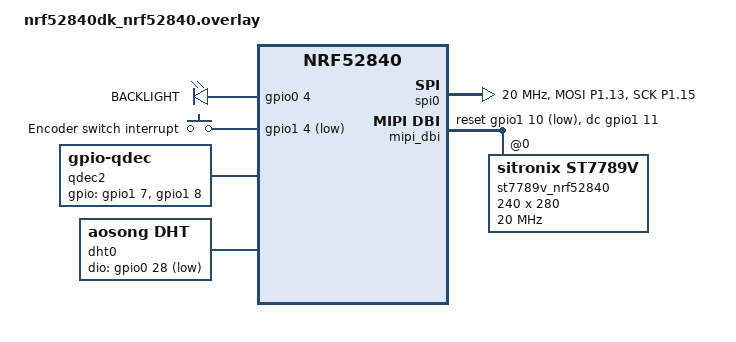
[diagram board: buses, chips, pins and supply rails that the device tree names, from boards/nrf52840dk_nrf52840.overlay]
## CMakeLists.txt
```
# SPDX-License-Identifier: Apache-2.0

cmake_minimum_required(VERSION 3.20.0)
find_package(Zephyr REQUIRED HINTS $ENV{ZEPHYR_BASE})
project(mad-mixo-guide)

# Add the 'lib' directory to include paths
target_include_directories(app PRIVATE ${CMAKE_CURRENT_SOURCE_DIR}/lib)

target_sources(app PRIVATE 
    src/main.c
    lib/chosen_drinks.c
    lib/temperature_sensor.c
    )
```

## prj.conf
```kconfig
CONFIG_GPIO=y

# LVGL settings
CONFIG_MAIN_STACK_SIZE=4096
CONFIG_LOG=y
# CONFIG_SHELL=y

CONFIG_LVGL=y
CONFIG_LV_Z_MEM_POOL_SIZE=49152
# CONFIG_LV_Z_SHELL=y
CONFIG_LV_USE_MONKEY=y

# LVGL fonts
CONFIG_LV_FONT_MONTSERRAT_24=y

# specific setting for st7789v2
CONFIG_LV_COLOR_16_SWAP=y

CONFIG_DISPLAY=y
# Encoder
CONFIG_INPUT=y
CONFIG_LV_Z_ENCODER_INPUT=y

# SPI
CONFIG_MIPI_DBI=y
CONFIG_MIPI_DBI_SPI=y
# sensor
CONFIG_SENSOR=y
```

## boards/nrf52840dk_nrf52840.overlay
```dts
#include <zephyr/dt-bindings/mipi_dbi/mipi_dbi.h>

&pinctrl {
    spi0_default_alt: spi0_default_alt {
        group1 {
            psels = <NRF_PSEL(SPIM_MOSI, 1, 13)>,
                    <NRF_PSEL(SPIM_SCK,  1, 15)>;
        };
    };

    spi0_sleep_alt: spi0_sleep_alt {
        group1 {
            psels = <NRF_PSEL(SPIM_MOSI, 1, 13)>,
                    <NRF_PSEL(SPIM_SCK,  1, 15)>;
            low-power-enable;
        };
    };

};

&spi0 {
    status = "okay";
    clock-frequency = <20000000>;
    cs-gpios = <&gpio1 12 GPIO_ACTIVE_LOW>;
    pinctrl-0 = <&spi0_default_alt>;
    pinctrl-1 = <&spi0_sleep_alt>;
    pinctrl-names = "default", "sleep";
};

&gpio1 {
    status = "okay";
};

&{/} {
    mipi_dbi {
        compatible = "zephyr,mipi-dbi-spi";
        reset-gpios = <&gpio1 10 GPIO_ACTIVE_LOW>;
        dc-gpios = <&gpio1 11 GPIO_ACTIVE_HIGH>;
        spi-dev = <&spi0>;
        #address-cells = <1>;
        #size-cells = <0>;

        st7789v_nrf52840: st7789@0 {
            compatible = "sitronix,st7789v";
            reg = <0>;
            mipi-max-frequency = <20000000>;
            mipi-mode = "MIPI_DBI_MODE_SPI_4WIRE";
            width = <240>;
            height = <280>;
            x-offset = <0>;
            y-offset = <20>;
            vcom = <0x19>;
            gctrl = <0x35>;
            vrhs = <0x12>;
            vdvs = <0x20>;
            mdac = <0x00>;
            gamma = <0x01>;
            colmod = <0x55>;
            lcm = <0x2c>;
            porch-param = [0c 0c 00 33 33];
            cmd2en-param = [5a 69 02 01];
            pwctrl1-param = [a4 a1];
            pvgam-param = [D0 04 0D 11 13 2B 3F 54 4C 18 0D 0B 1F 23];
		    nvgam-param = [D0 04 0C 11 13 2C 3F 44 51 2F 1F 1F 20 23];
            ram-param = [00 F0];
            rgb-param = [CD 08 14];
        };
    };

    backlight {
        compatible = "gpio-leds";
        backlight0: backlight_0 {
            gpios = <&gpio0 4 GPIO_ACTIVE_HIGH>;
            label = "BACKLIGHT";
        };
    };

    buttons: buttons {
        status = "okay";
        compatible = "gpio-keys";
        debounce-interval-ms = <50>;
        qdec_btn: btn_pin {
            gpios = <&gpio1 4 (GPIO_PULL_UP | GPIO_ACTIVE_LOW)>;
            label = "Encoder switch interrupt";
            zephyr,code = <INPUT_BTN_0>;
        };
    };

    qdec2: qdec {
        status = "okay";
        compatible = "gpio-qdec";
        gpios = <&gpio1 7 (GPIO_PULL_UP | GPIO_ACTIVE_HIGH)>,
                <&gpio1 8 (GPIO_PULL_UP | GPIO_ACTIVE_HIGH)>;
        zephyr,axis = <INPUT_REL_WHEEL>;
        steps-per-period = <4>;
        sample-time-us = <3000>;
        idle-timeout-ms = <200>;
    };

    encoder {
        status = "okay";
        compatible = "zephyr,lvgl-encoder-input";
        rotation-input-code = <INPUT_REL_WHEEL>;
        button-input-code = <INPUT_BTN_0>;
    };

    dht0: dht_0 {
        status = "okay";
        compatible = "aosong,dht";
        dio-gpios = <&gpio0 28 GPIO_ACTIVE_LOW>;
        dht22;
    };


    chosen {
        zephyr,display = &st7789v_nrf52840;
    };

    aliases {
        backlight = &backlight0;
    };

};
```

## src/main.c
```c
/*
 * Copyright (c) 2016 Intel Corporation
 *
 * SPDX-License-Identifier: Apache-2.0
 */

#include <stdio.h>
#include <zephyr/kernel.h>
#include <zephyr/drivers/gpio.h>
#include <string.h>
// user lib
#include "../lib/chosen_drinks.h"
#include "../lib/mood_states.h"
#include "../lib/temperature_sensor.h"
// lvgl
#include <lvgl.h>
// display
#include <zephyr/drivers/display.h>
// encoder
#include <lvgl_input_device.h>
// logging
#include <zephyr/logging/log.h>

#include <zephyr/input/input.h>

#define LOG_LEVEL CONFIG_LOG_DEFAULT_LEVEL
LOG_MODULE_REGISTER(app);

// #define SHOW_SENSOR_TEMP

static const struct device *lvgl_encoder =
    DEVICE_DT_GET(DT_COMPAT_GET_ANY_STATUS_OKAY(zephyr_lvgl_encoder_input));

enum states CURRENT_STATE = NORMAL;
static bool drink_finished = false;

enum drink_states
{
    PREMIX,
    MIX,
    AFTERMIX
};
enum drink_states CURRENT_MIX = PREMIX;
// groups and input
static lv_group_t *g;
lv_indev_t *button_indev;
lv_indev_data_t *button_data;
// objects on screen
static lv_obj_t *menu_list;
static lv_obj_t *drink_status_label;
static lv_obj_t *temp_status_label;
static lv_obj_t *add_user_recipe_label;
static lv_obj_t *back_btn;
// screens
static lv_obj_t *scr_1;
static lv_obj_t *scr_2;
static lv_obj_t *scr_3;
static lv_obj_t *scr_temp;
// progress bar
static lv_obj_t *bar;

typedef void (*pre_mix_cb)(lv_event_t *e);
typedef void (*mix_cb)(lv_event_t *e);
typedef void (*post_mix_cb)(lv_event_t *e);

typedef struct
{
    const char *name;
    pre_mix_cb on_pre_mix;
    mix_cb on_mix;
    post_mix_cb on_post_mix;
    uint8_t danger_level; // 0-255 (risk of disaster)

} potion_recipes;

typedef struct
{
    potion_recipes *user_recipe;
    lv_event_t *user_event;
} timer_user_data;

static timer_user_data my_user_data;

const char *get_drink_name(enum drinks d)
{
    switch (d)
    {
    case VODKA:
        return "vodka";
    case GIN:
        return "gin";
    case JUICE:
        return "juice";
    case LIME:
        return "lime";
    case TONIC:
        return "tonic";

    default:
        return NULL;
    }
}

void pump_ingredient(int ml, enum drinks drink)
{
    add_drink(drink, ml);
    // NOTE: temp code to simulate selection of drinks
    printk("Pumping %d ml %s..\n", ml, get_drink_name(drink));
    char buffer[32]; // Make sure it's big enough
    snprintf(buffer, sizeof(buffer), "Pumping %d ml %s..\n", ml, get_drink_name(drink));
    lv_label_set_text(drink_status_label, buffer);
}

void stir(int seconds)
{
    printk("Stirring for %d..\n", seconds);
    // Create buffer and format the string into it
    char buffer[32]; // Make sure it's big enough
    snprintf(buffer, sizeof(buffer), "Stirring for %d..\n", seconds);
    lv_label_set_text(drink_status_label, buffer);
}

void stir_violently(int seconds)
{
    printk("Stirring for %d.. Violently.\n", seconds);
    char buffer[32];
    snprintf(buffer, sizeof(buffer), "Stirring for %d.. Violently.\n", seconds);
    lv_label_set_text(drink_status_label, buffer);
}

void pump_citrus()
{
    int citrus = 5;
    printk("Pumping %d ml citrus...\n", citrus);
    char buffer[32];
    snprintf(buffer, sizeof(buffer), "Pumping %d ml citrus...\n", citrus);
    lv_label_set_text(drink_status_label, buffer);
}

void calibrate(lv_event_t *e)
{
    printk("Calibrating pumps...\n");
    lv_label_set_text(drink_status_label, "Calibrating pumps...\n");
}

void calibrate_quickly(lv_event_t *e)
{
    printk("Calibrate only 1 pump...\n");
    lv_label_set_text(drink_status_label, "Calibrate only 1 pump...\n");
}

void surprise_stir(lv_event_t *e)
{
    random_num_temp = (random_num_temp ^ k_uptime_get()) & 0x7;
    int max_seconds = 45;
    random_num_temp %= max_seconds;
    if (random_num_temp < 1)
    {
        random_num_temp = 5;
    }

    stir(random_num_temp);
}

void mix_vodka_lime(lv_event_t *e)
{
    pump_ingredient(50, VODKA);
    pump_ingredient(10, LIME);
}

void mix_gin_tonic(lv_event_t *e)
{
    pump_ingredient(30, GIN);
    pump_ingredient(10, TONIC);
    pump_ingredient(5, LIME);
}

void helper_print_state(enum states current_state)
{

    switch ((int)current_state)
    {
    case 0:
        printk("Current state :::: NORMAL\n");
        break;
    case 1:
        printk("Current state :::: DEVIOUS\n");
    case 2:
        printk("Current state :::: PANIC\n");

    default:
        break;
    }
}

static void event_finish_handler(lv_event_t *e)
{
    lv_event_code_t code = lv_event_get_code(e);

    if (code == LV_EVENT_PRESSED && drink_finished)
    {
        // Clear focus state from all buttons in menu_list
        uint32_t count = lv_obj_get_child_cnt(menu_list);
        for (uint32_t i = 0; i < count; i++)
        {
            lv_obj_t *btn = lv_obj_get_child(menu_list, i);
            lv_obj_clear_state(btn, LV_STATE_FOCUSED | LV_STATE_EDITED | LV_STATE_PRESSED);
        }

        // Clear the currently focused object in group
        lv_group_focus_obj(NULL);

        lv_scr_load(scr_1);

        lv_obj_t *first_btn = lv_obj_get_child(menu_list, 0);
        lv_group_focus_obj(first_btn);

        lv_bar_set_value(bar, 0, LV_ANIM_OFF);
        drink_finished = false;
    }
}

void init_make_drink_screen()
{
    scr_2 = lv_obj_create(NULL);
    // Add a proper button (instead of making the screen clickable)
    back_btn = lv_btn_create(scr_2);
    lv_obj_set_size(back_btn, 35, 35);
    lv_obj_t *btn_label = lv_label_create(back_btn);
    lv_label_set_text(btn_label, LV_SYMBOL_LEFT);
    lv_obj_center(btn_label);
    lv_obj_align_to(back_btn, NULL, LV_ALIGN_TOP_LEFT, 20, 10);
    lv_obj_set_style_bg_color(back_btn, lv_palette_main(LV_PALETTE_GREY), LV_STATE_DEFAULT);
    // Add the button to the input group
    lv_group_add_obj(g, back_btn);
    // Add event to the button (not the screen)
    lv_obj_add_event_cb(back_btn, event_finish_handler, LV_EVENT_PRESSED, NULL);

    drink_status_label = lv_label_create(scr_2);
    lv_obj_set_width(drink_status_label, 200);
    lv_obj_align(drink_status_label, LV_ALIGN_CENTER, 0, 0);
    lv_obj_set_style_text_font(drink_status_label, &lv_font_montserrat_24, 0);
    // set button as back button from last message
}

void my_temp_timer(lv_timer_t *timer)
{
    if (temp_status_buffer[0] != '\0')
    {
        lv_label_set_text(temp_status_label, temp_status_buffer);
    }
}

void init_make_temperature_screen()
{
    scr_temp = lv_obj_create(NULL);
    temp_status_label = lv_label_create(scr_temp);
    lv_obj_set_width(temp_status_label, 200);
    lv_obj_align(temp_status_label, LV_ALIGN_CENTER, 0, 0);
    lv_obj_set_style_text_font(temp_status_label, &lv_font_montserrat_24, 0);
    lv_timer_t *timer = lv_timer_create(my_temp_timer, 10000, NULL);
    lv_timer_ready(timer);
    lv_scr_load(scr_temp);
}


static const char * btnm_map[] = {"1", "2", "3", "4", "5", "\n",
                                  "6", "7", "8", "9", "0", "\n",
                                  "Action1", "Action2", ""
                                 };


static void event_handler_btn_map(lv_event_t * e)
{
    lv_obj_t * obj = lv_event_get_target_obj(e);
    uint32_t id = lv_buttonmatrix_get_selected_button(obj);
    bool prev = id == 0;
    bool next = id == 6;
    if(prev || next) 
    {
        /*Find the checked button*/
        uint32_t i;
        for(i = 1; i < 7; i++) 
        {
            if(lv_buttonmatrix_has_button_ctrl(obj, i, LV_BUTTONMATRIX_CTRL_CHECKED)) break;
        }

        if(prev && i > 1) i--;
        else if(next && i < 5) i++;

        lv_buttonmatrix_set_button_ctrl(obj, i, LV_BUTTONMATRIX_CTRL_CHECKED);
        // lv_buttonmatrix_set_selected_button(obj, i);
        
    }
}


void init_add_user_screen()
{
    scr_3 = lv_obj_create(NULL);
    add_user_recipe_label = lv_label_create(scr_3);
    lv_label_set_text(add_user_recipe_label, "Choose first drink");
    lv_obj_align(temp_status_label, LV_ALIGN_TOP_MID, 0, 0);
    lv_obj_set_style_text_font(temp_status_label, &lv_font_montserrat_24, 0);
    
    lv_obj_t * btnm1 = lv_buttonmatrix_create(scr_3);
    lv_buttonmatrix_set_map(btnm1, btnm_map);
    lv_buttonmatrix_set_button_ctrl(btnm1, 10, LV_BUTTONMATRIX_CTRL_CHECKABLE);
    lv_buttonmatrix_set_button_ctrl(btnm1, 11, LV_BUTTONMATRIX_CTRL_CHECKED);
    lv_obj_align(btnm1, LV_ALIGN_CENTER, 0, 0);
    lv_obj_add_event_cb(btnm1, event_handler_btn_map, LV_EVENT_PRESSED, NULL);
    // Add the buttonmatrix to the input group
    lv_group_add_obj(g, btnm1);
}

void create_progress_bar()
{
    static lv_style_t style_bg;
    static lv_style_t style_indic;

    lv_style_init(&style_bg);
    lv_style_set_border_color(&style_bg, lv_palette_main(LV_PALETTE_BLUE));
    lv_style_set_border_width(&style_bg, 2);
    lv_style_set_pad_all(&style_bg, 6); /*To make the indicator smaller*/
    lv_style_set_radius(&style_bg, 6);
    lv_style_set_anim_duration(&style_bg, 1000);

    lv_style_init(&style_indic);
    lv_style_set_bg_opa(&style_indic, LV_OPA_COVER);
    lv_style_set_bg_color(&style_indic, lv_palette_main(LV_PALETTE_BLUE));
    lv_style_set_radius(&style_indic, 3);

    bar = lv_bar_create(scr_2);
    lv_obj_remove_style_all(bar); /*To have a clean start*/
    lv_obj_add_style(bar, &style_bg, 0);
    lv_obj_add_style(bar, &style_indic, LV_PART_INDICATOR);

    lv_obj_set_size(bar, 200, 20);
    lv_obj_center(bar);
    lv_obj_align_to(bar, NULL, LV_ALIGN_BOTTOM_MID, 0, -20);
    lv_bar_set_value(bar, 0, LV_ANIM_ON);
}

void my_timer(lv_timer_t *timer)
{
    /* Use the user_data */
    timer_user_data *user_data = lv_timer_get_user_data(timer);
    lv_event_t *event = user_data->user_event;
    printf("my_timer called\n");
    // printf("Timer call: recipe = %p, mix = %d\n", user_data->user_recipe, CURRENT_MIX);
    if (CURRENT_MIX == MIX)
    {
        if (user_data->user_recipe->on_mix)
        {
            user_data->user_recipe->on_mix(event);
            lv_bar_set_value(bar, 66, LV_ANIM_ON);
        }
        CURRENT_MIX = AFTERMIX;
    }
    else if (CURRENT_MIX == AFTERMIX && !drink_finished)
    {
        if (user_data->user_recipe->on_post_mix)
        {
            user_data->user_recipe->on_post_mix(event);
            lv_bar_set_value(bar, 93, LV_ANIM_ON);
            drink_finished = true;
        }
    }
    else if (drink_finished)
    {
        lv_label_set_text(drink_status_label, "Drink finished");
        lv_bar_set_value(bar, 100, LV_ANIM_ON);
    }
}

void execute_one_recipe(potion_recipes *recipe, lv_event_t *e)
{
    my_user_data.user_event = e;
    my_user_data.user_recipe = recipe;

    lv_scr_load(scr_2);
    lv_group_focus_obj(back_btn);
    lv_timer_t *timer = lv_timer_create(my_timer, 2500, &my_user_data);

    if (recipe->on_pre_mix)
    {
        recipe->on_pre_mix(e);
        CURRENT_MIX = MIX;
        lv_bar_set_value(bar, 33, LV_ANIM_ON);
    }
    // TODO: replace 3 with a count maybe of recipes or?
    lv_timer_set_repeat_count(timer, 3);
}

void lv_make_drink_screen(lv_event_t *e)
{
    lv_obj_t *btn = lv_event_get_target(e);
    potion_recipes *data = lv_obj_get_user_data(btn);
    execute_one_recipe(data, e);
}

static void event_handler(lv_event_t *e)
{
    lv_event_code_t code = lv_event_get_code(e);
    lv_obj_t *obj = lv_event_get_target_obj(e);

    if (code == LV_EVENT_PRESSED && !drink_finished)
    {

        LV_LOG_USER("Clicked: %s", lv_list_get_button_text(menu_list, obj));
        LOG_INF("Clicked: %s", lv_list_get_button_text(menu_list, obj));
        lv_make_drink_screen(e);
    }
}

static void event_handler_add_recipe(lv_event_t *e)
{
    lv_event_code_t code = lv_event_get_code(e);
    lv_obj_t *obj = lv_event_get_target_obj(e);

    if (code == LV_EVENT_PRESSED && !drink_finished)
    {

        LV_LOG_USER("Clicked: %s", lv_list_get_button_text(menu_list, obj));
        LOG_INF("Clicked: %s", lv_list_get_button_text(menu_list, obj));
        add_recipe(e);
    }
    
}


void init_encoder()
{
    g = lv_group_create();
    lv_group_set_default(g);
    lv_indev_t *encoder_indev = lvgl_input_get_indev(lvgl_encoder);
    lv_indev_set_group(encoder_indev, g);
}

void lv_menu_list(potion_recipes *recipes, size_t recipes_size)
{
    /*Create a list*/
    scr_1 = lv_obj_create(NULL);
    menu_list = lv_list_create(scr_1);
    // lv_group_add_obj(g, menu_list); // is this needed?
    lv_obj_set_size(menu_list, lv_pct(100), lv_pct(100));

    lv_obj_center(menu_list);
    // set style
    static lv_style_t style;
    lv_style_init(&style);
    lv_style_set_border_width(&style, 0);
    lv_obj_add_style(menu_list, &style, 0);
    /*Add buttons to the list*/
    lv_obj_t *btn;
    // buttons
    const int32_t btn_height = 42;
    for (int i = 0; i < recipes_size; i++)
    {
        btn = lv_list_add_button(menu_list, NULL, recipes[i].name);
        lv_obj_set_style_text_font(btn, &lv_font_montserrat_24, 0);
        lv_obj_set_size(btn, lv_pct(100), lv_pct(30));
        // lv_obj_update_layout(btn); // to get height
        lv_obj_set_style_text_align(btn, LV_TEXT_ALIGN_CENTER, 0);
        lv_obj_set_style_pad_top(btn, btn_height - 12, 0);
        lv_group_add_obj(g, btn);
        lv_obj_set_user_data(btn, &recipes[i]); // Explicitly set
        lv_obj_add_event_cb(btn, event_handler, LV_EVENT_PRESSED, NULL);
    }
    // user add recipes section of the menu
    lv_list_add_text(menu_list, "user recipes");
    // add recipes button
    btn = lv_list_add_button(menu_list, NULL, "add recipe");
    lv_obj_set_style_text_font(btn, &lv_font_montserrat_24, 0);
    lv_obj_set_size(btn, lv_pct(100), lv_pct(30));
    lv_obj_set_style_text_align(btn, LV_TEXT_ALIGN_CENTER, 0);
    lv_obj_set_style_pad_top(btn, btn_height - 12, 0);
    lv_group_add_obj(g, btn);
    lv_obj_add_event_cb(btn, event_handler_add_recipe, LV_EVENT_PRESSED, NULL);
    

    // load screen
    lv_scr_load(scr_1);
    lv_obj_t *first_btn = lv_obj_get_child(menu_list, 0);
    lv_group_focus_obj(first_btn);
}

int main(void)
{

    // configure display
    const struct device *display_dev;
    display_dev = DEVICE_DT_GET(DT_CHOSEN(zephyr_display));
    if (!device_is_ready(display_dev))
    {
        LOG_ERR("Device not ready, aborting.");
        return 0;
    }
    // add recipes
    // recipes
    static potion_recipes recipes[] = {
        {.name = "vodka lime", .on_pre_mix = calibrate, .on_mix = mix_vodka_lime, .on_post_mix = pump_citrus},
        {.name = "gin tonic", .on_pre_mix = calibrate, .on_mix = mix_gin_tonic, .on_post_mix = surprise_stir},
        {.name = "Aw@k3#d", .on_pre_mix = calibrate, .on_mix = mix_gin_tonic, .on_post_mix = surprise_stir}};
    // table test
    size_t recipes_size = sizeof(recipes) / sizeof(recipes[0]);
#ifndef SHOW_SENSOR_TEMP
    init_encoder();
    init_make_drink_screen();
    create_progress_bar();
    lv_menu_list(recipes, recipes_size);
#endif
#ifdef SHOW_SENSOR_TEMP
    init_make_temperature_screen();
#endif

    lv_timer_handler();
    display_blanking_off(display_dev);

    helper_print_state(CURRENT_STATE);

    // if 'random' liquid has less than 'random' ml left in container
    // enter panic mode
    // panic mode should randomly replace callbacks
    for (int i = 0; i < 3; ++i)
    {
        printk("%s has %d ml left.\n", get_drink_name(filled_containers[i].name),
               filled_containers[i].leftover);
    }

    init_temp();
    while (1)
    {
        lv_timer_handler();
        k_sleep(K_MSEC(10));
    }
}
```
